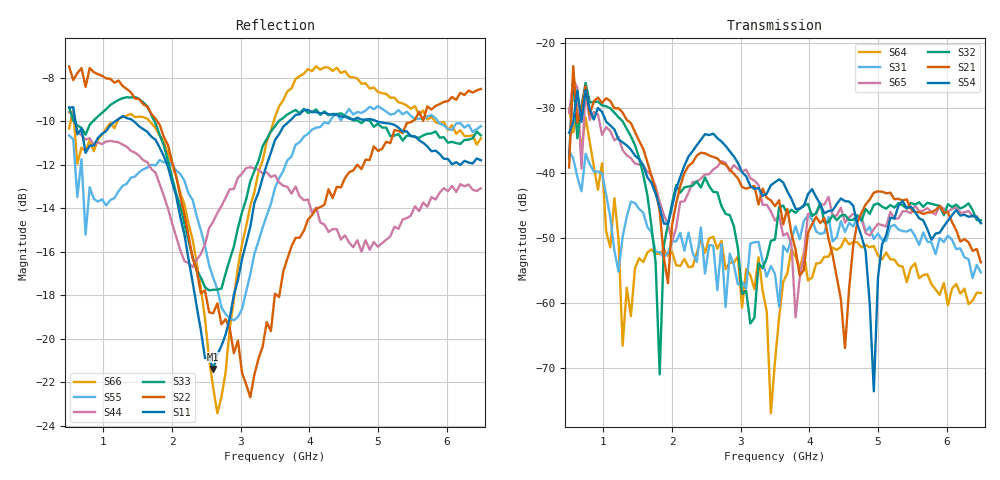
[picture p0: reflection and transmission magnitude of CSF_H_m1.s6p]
!Keysight Technologies,M9804A,MY58100912,A.14.10.03
!Date: Thursday, April 27, 2023 10:28:33
!Correction: S11(C  6-Port  )
!S12(C  6-Port  )
!S13(C  6-Port  )
!S14(C  6-Port  )
!S15(C  6-Port  )
!S16(C  6-Port  )
!S21(C  6-Port  )
!S22(C  6-Port  )
!S23(C  6-Port  )
!S24(C  6-Port  )
!S25(C  6-Port  )
!S26(C  6-Port  )
!S31(C  6-Port  )
!S32(C  6-Port  )
!S33(C  6-Port  )
!S34(C  6-Port  )
!S35(C  6-Port  )
!S36(C  6-Port  )
!S41(C  6-Port  )
!S42(C  6-Port  )
!S43(C  6-Port  )
!S44(C  6-Port  )
!S45(C  6-Port  )
!S46(C  6-Port  )
!S51(C  6-Port  )
!S52(C  6-Port  )
!S53(C  6-Port  )
!S54(C  6-Port  )
!S55(C  6-Port  )
!S56(C  6-Port  )
!S61(C  6-Port  )
!S62(C  6-Port  )
!S63(C  6-Port  )
!S64(C  6-Port  )
!S65(C  6-Port  )
!S66(C  6-Port  )
!S6P File: Measurement: :
# Hz S  RI  R 50
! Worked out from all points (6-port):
!   101 points, 500 MHz to 6.5 GHz, reference 50 ohm
!   strongest paths, dB at 500 MHz, 2 GHz, 3.5 GHz, 5 GHz, 6.5 GHz:
!     S54: -33.8, -45.2, -41.4, -56.2, -47.7
!     S21: -39.2, -48.0, -45.1, -42.9, -53.8
!     S32: -37.7, -44.7, -50.3, -44.7, -47.3
!     S65: -30.8, -50.6, -47.4, -47.8, -47.7
!     S31: -36.6, -50.5, -55.6, -49.4, -55.3
!     S64: -30.1, -52.2, -69.0, -52.7, -58.5
!   lowest |S11| = -21.4 dB at 2.6 GHz (marker M1), VSWR 1.19, Z = 42.4 + j2.15 ohm
!   |S11| at or under -10 dB: 590.9 MHz to 1.175 GHz (584.3 MHz wide, 66.2 % of centre); 1.44 GHz to 3.71 GHz (2.271 GHz wide, 88.2 % of centre); 4.979 GHz to end of sweep
